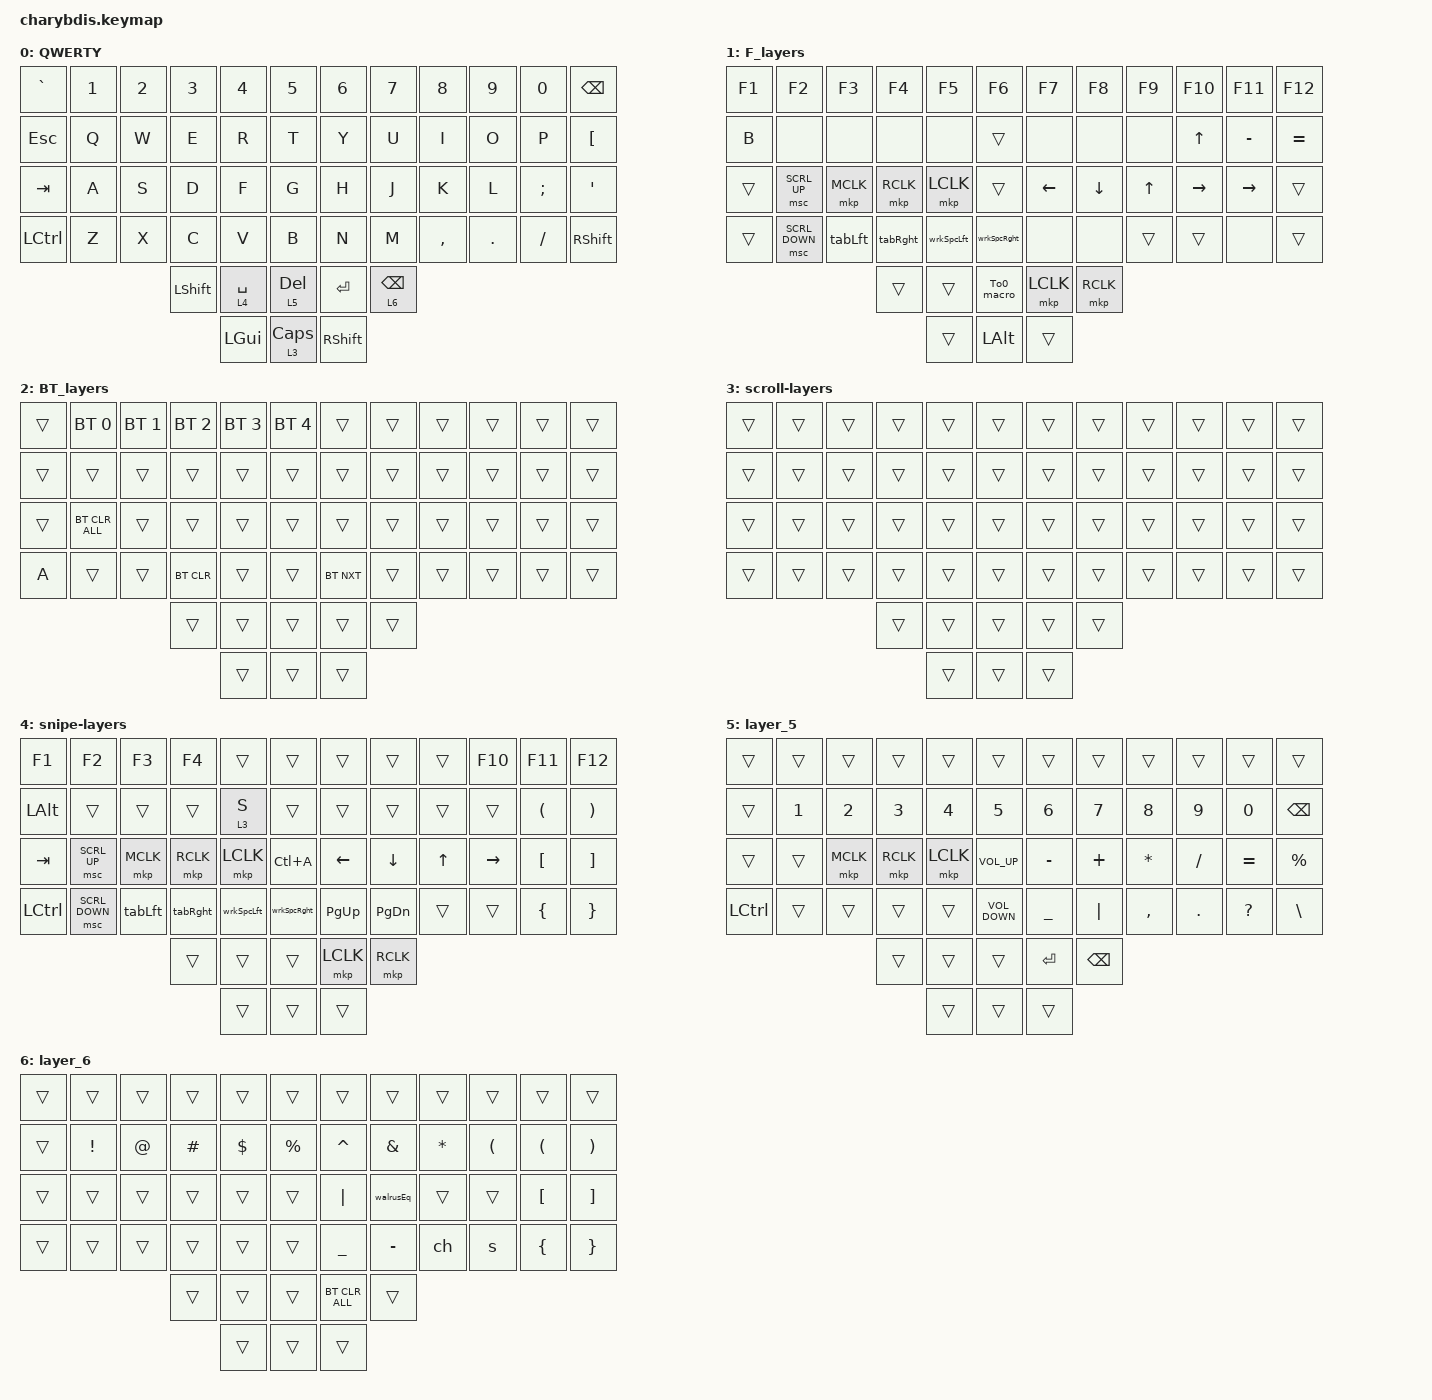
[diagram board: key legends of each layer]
#include <behaviors.dtsi>
#include <dt-bindings/zmk/bt.h>
#include <dt-bindings/zmk/keys.h>
#include <dt-bindings/zmk/pointing.h>
#include <dt-bindings/zmk/rgb.h>

&lt {
    tapping-term-ms = <200>;
    flavor = "balanced";
    quick-tap-ms = <150>;
};

/ {
    macros {
        To1_macro: To1_macro {
            compatible = "zmk,behavior-macro";
            label = "To1_macro";
            #binding-cells = <0>;
            bindings = <&rgb_ug RGB_EFF &rgb_ug RGB_COLOR_HSB(128,100,50) &to 1>;
        };

        To0_macro: To0_macro {
            compatible = "zmk,behavior-macro";
            label = "To0_macro";
            #binding-cells = <0>;
            bindings = <&rgb_ug RGB_EFR &to 0>;
        };

        To2_macro: To2_macro {
            compatible = "zmk,behavior-macro";
            label = "To2_macro";
            #binding-cells = <0>;
            bindings =
                <&to 2>,
                <&macro_wait_time 30>,
                <&rgb_ug RGB_COLOR_HSB(250,100,50)>;
        };

        wrkSpcRght: wrkSpcRght {
            compatible = "zmk,behavior-macro";
            #binding-cells = <0>;
            bindings = <&kp LG(PAGE_DOWN)>;
            label = "WRKSPCRGHT";
        };

        wrkSpcLft: wrkSpcLft {
            compatible = "zmk,behavior-macro";
            #binding-cells = <0>;
            bindings = <&kp LG(PAGE_UP)>;
            label = "WRKSPCLFT";
        };

        tabRght: tabRght {
            compatible = "zmk,behavior-macro";
            #binding-cells = <0>;
            bindings = <&kp LC(PAGE_DOWN)>;
            label = "TABRGHT";
        };

        tabLft: tabLft {
            compatible = "zmk,behavior-macro";
            #binding-cells = <0>;
            bindings = <&kp LC(PAGE_UP)>;
            label = "TABLFT";
        };

        walrusEq: walrusEq {
            compatible = "zmk,behavior-macro";
            #binding-cells = <0>;
            bindings = <&kp COLON &kp EQUAL>;
            label = "WALRUSEQ";
        };

        ch: chR {
            compatible = "zmk,behavior-macro";
            #binding-cells = <0>;
            bindings = <&kp LESS_THAN &kp MINUS>;
            label = "CHR";
        };

        s: chW {
            compatible = "zmk,behavior-macro";
            #binding-cells = <0>;
            bindings = <&kp MINUS &kp GREATER_THAN>;
            label = "CHW";
        };
    };

    keymap {
        compatible = "zmk,keymap";

        QWERTY {
            bindings = <
&kp GRAVE   &kp N1  &kp N2  &kp N3          &kp N4        &kp N5            &kp N6           &kp N7           &kp N8     &kp N9   &kp N0    &kp BACKSPACE
&kp ESCAPE  &kp Q   &kp W   &kp E           &kp R         &kp T             &kp Y            &kp U            &kp I      &kp O    &kp P     &kp LEFT_BRACKET
&kp TAB     &kp A   &kp S   &kp D           &kp F         &kp G             &kp H            &kp J            &kp K      &kp L    &kp SEMI  &kp SQT
&kp LCTRL   &kp Z   &kp X   &kp C           &kp V         &kp B             &kp N            &kp M            &kp COMMA  &kp DOT  &kp FSLH  &kp RIGHT_SHIFT
                            &kp LEFT_SHIFT  &lt 4 SPACE   &lt 5 DELETE      &kp RET          &lt 6 BACKSPACE
                                            &kp LEFT_GUI  &lt 3 CAPSLOCK    &kp RIGHT_SHIFT
            >;
        };

        F_layers {
            bindings = <
&kp F1  &kp F2          &kp F3     &kp F4     &kp F5      &kp F6          &kp F7     &kp F8     &kp F9        &kp F10       &kp F11    &kp F12
&kp B   &none           &none      &none      &none       &trans          &none      &none      &none         &kp UP_ARROW  &kp MINUS  &kp EQUAL
&trans  &msc SCRL_UP    &mkp MCLK  &mkp RCLK  &mkp LCLK   &trans          &kp LEFT   &kp DOWN   &kp UP_ARROW  &kp RIGHT     &kp RIGHT  &trans
&trans  &msc SCRL_DOWN  &tabLft    &tabRght   &wrkSpcLft  &wrkSpcRght     &none      &none      &trans        &trans        &none      &trans
                                   &trans     &trans      &To0_macro      &mkp LCLK  &mkp RCLK
                                              &trans      &kp LEFT_ALT    &trans
            >;
        };

        BT_layers {
            bindings = <
&trans  &bt BT_SEL 0    &bt BT_SEL 1  &bt BT_SEL 2  &bt BT_SEL 3  &bt BT_SEL 4    &trans      &trans  &trans  &trans  &trans  &trans
&trans  &trans          &trans        &trans        &trans        &trans          &trans      &trans  &trans  &trans  &trans  &trans
&trans  &bt BT_CLR_ALL  &trans        &trans        &trans        &trans          &trans      &trans  &trans  &trans  &trans  &trans
&kp A   &trans          &trans        &bt BT_CLR    &trans        &trans          &bt BT_NXT  &trans  &trans  &trans  &trans  &trans
                                      &trans        &trans        &trans          &trans      &trans
                                                    &trans        &trans          &trans
            >;
        };

        scroll-layers {
            bindings = <
&trans  &trans  &trans  &trans  &trans  &trans    &trans  &trans  &trans  &trans  &trans  &trans
&trans  &trans  &trans  &trans  &trans  &trans    &trans  &trans  &trans  &trans  &trans  &trans
&trans  &trans  &trans  &trans  &trans  &trans    &trans  &trans  &trans  &trans  &trans  &trans
&trans  &trans  &trans  &trans  &trans  &trans    &trans  &trans  &trans  &trans  &trans  &trans
                        &trans  &trans  &trans    &trans  &trans
                                &trans  &trans    &trans
            >;
        };

        snipe-layers {
            bindings = <
&kp F1        &kp F2          &kp F3     &kp F4     &trans      &trans         &trans     &trans         &trans  &kp F10    &kp F11               &kp F12
&kp LEFT_ALT  &trans          &trans     &trans     &lt 3 S     &trans         &trans     &trans         &trans  &trans     &kp LEFT_PARENTHESIS  &kp RIGHT_PARENTHESIS
&kp TAB       &msc SCRL_UP    &mkp MCLK  &mkp RCLK  &mkp LCLK   &kp LC(A)      &kp LEFT   &kp DOWN       &kp UP  &kp RIGHT  &kp LEFT_BRACKET      &kp RIGHT_BRACKET
&kp LCTRL     &msc SCRL_DOWN  &tabLft    &tabRght   &wrkSpcLft  &wrkSpcRght    &kp PG_UP  &kp PAGE_DOWN  &trans  &trans     &kp LEFT_BRACE        &kp RIGHT_BRACE
                                         &trans     &trans      &trans         &mkp LCLK  &mkp RCLK
                                                    &trans      &trans         &trans
            >;
        };

        layer_5 {
            bindings = <
&trans     &trans        &trans        &trans        &trans        &trans               &trans          &trans         &trans     &trans      &trans     &trans
&trans     &kp NUMBER_1  &kp NUMBER_2  &kp NUMBER_3  &kp NUMBER_4  &kp N5               &kp N6          &kp N7         &kp N8     &kp N9      &kp N0     &kp BACKSPACE
&trans     &trans        &mkp MCLK     &mkp RCLK     &mkp LCLK     &kp C_VOLUME_UP      &kp MINUS       &kp PLUS       &kp ASTRK  &kp SLASH   &kp EQUAL  &kp PERCENT
&kp LCTRL  &trans        &trans        &trans        &trans        &kp C_VOLUME_DOWN    &kp UNDERSCORE  &kp PIPE       &kp COMMA  &kp PERIOD  &kp QMARK  &kp BACKSLASH
                                       &trans        &trans        &trans               &kp ENTER       &kp BACKSPACE
                                                     &trans        &trans               &trans
            >;
        };

        layer_6 {
            bindings = <
&trans  &trans           &trans       &trans    &trans      &trans         &trans          &trans         &trans        &trans                &trans                &trans
&trans  &kp EXCLAMATION  &kp AT_SIGN  &kp HASH  &kp DOLLAR  &kp PERCENT    &kp CARET       &kp AMPERSAND  &kp ASTERISK  &kp LEFT_PARENTHESIS  &kp LEFT_PARENTHESIS  &kp RIGHT_PARENTHESIS
&trans  &trans           &trans       &trans    &trans      &trans         &kp PIPE        &walrusEq      &trans        &trans                &kp LEFT_BRACKET      &kp RIGHT_BRACKET
&trans  &trans           &trans       &trans    &trans      &trans         &kp UNDERSCORE  &kp MINUS      &ch           &s                    &kp LEFT_BRACE        &kp RIGHT_BRACE
                                      &trans    &trans      &trans         &bt BT_CLR_ALL  &trans
                                                &trans      &trans         &trans
            >;
        };
    };
};
